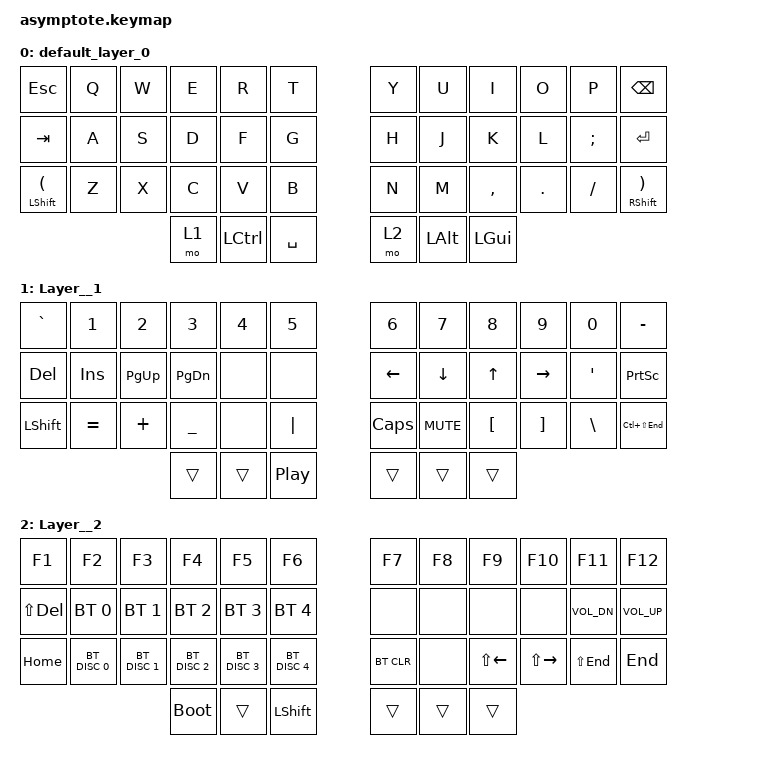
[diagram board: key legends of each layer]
/*
 * Copyright (c) 2020 The ZMK Contributors
 *
 * SPDX-License-Identifier: MIT
 */

#include <behaviors.dtsi>
#include <dt-bindings/zmk/bt.h>
#include <dt-bindings/zmk/keys.h>

&mt { tapping-term-ms = <200>; };

&lt { quick-tap-ms = <400>; };

/ {
    keymap {
        compatible = "zmk,keymap";

        default_layer_0 {
            bindings = <
&kp ESCAPE                       &kp Q  &kp W  &kp E  &kp R      &kp T        &kp Y  &kp U         &kp I         &kp O    &kp P      &kp BSPC
&kp TAB                          &kp A  &kp S  &kp D  &kp F      &kp G        &kp H  &kp J         &kp K         &kp L    &kp SEMI   &kp ENTER
&mt LEFT_SHIFT LEFT_PARENTHESIS  &kp Z  &kp X  &kp C  &kp V      &kp B        &kp N  &kp M         &kp COMMA     &kp DOT  &kp SLASH  &mt RSHIFT RIGHT_PARENTHESIS
                                               &mo 1  &kp LCTRL  &kp SPACE    &mo 2  &kp LEFT_ALT  &kp LEFT_GUI
            >;
        };

        Layer__1 {
            bindings = <
&kp GRAVE       &kp N1     &kp N2       &kp N3         &kp N4  &kp N5              &kp N6    &kp N7      &kp N8            &kp N9             &kp N0            &kp MINUS
&kp DELETE      &kp INS    &kp PAGE_UP  &kp PAGE_DOWN  &none   &none               &kp LEFT  &kp DOWN    &kp UP_ARROW      &kp RIGHT          &kp SINGLE_QUOTE  &kp PRINTSCREEN
&kp LEFT_SHIFT  &kp EQUAL  &kp PLUS     &kp UNDER      &none   &kp PIPE            &kp CAPS  &kp K_MUTE  &kp LEFT_BRACKET  &kp RIGHT_BRACKET  &kp BACKSLASH     &kp LC(LS(END))
                                        &trans         &trans  &kp C_PLAY_PAUSE    &trans    &trans      &trans
            >;
        };

        Layer__2 {
            bindings = <
&kp F1          &kp F2         &kp F3         &kp F4         &kp F5         &kp F6            &kp F7      &kp F8  &kp F9              &kp F10        &kp F11       &kp F12
&kp LS(DELETE)  &bt BT_SEL 0   &bt BT_SEL 1   &bt BT_SEL 2   &bt BT_SEL 3   &bt BT_SEL 4      &none       &none   &none               &none          &kp C_VOL_DN  &kp C_VOLUME_UP
&kp HOME        &bt BT_DISC 0  &bt BT_DISC 1  &bt BT_DISC 2  &bt BT_DISC 3  &bt BT_DISC 4     &bt BT_CLR  &none   &kp LS(LEFT_ARROW)  &kp LS(RIGHT)  &kp LS(END)   &kp END
                                              &bootloader    &trans         &kp LEFT_SHIFT    &trans      &trans  &trans
            >;
        };
    };
};
